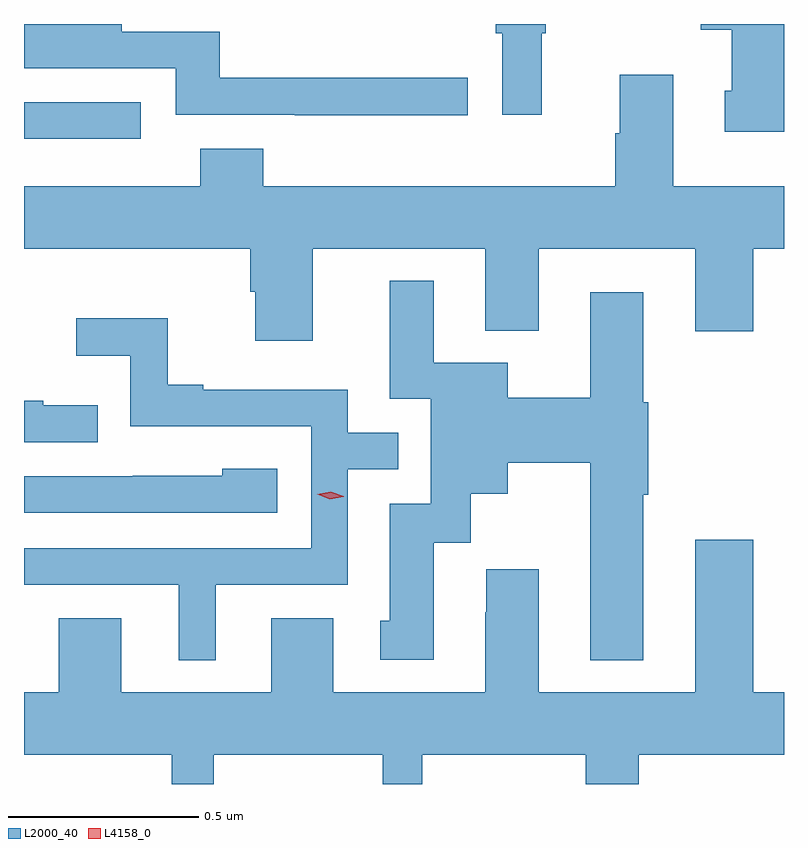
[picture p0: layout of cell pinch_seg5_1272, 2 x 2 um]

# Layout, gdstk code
import gdstk
lib = gdstk.Library(unit=1e-6, precision=1e-09)
def R(c, l, rs):  # rectangles x0, y0, x1, y1
    for r in rs: c.add(gdstk.rectangle(r[:2], r[2:], *l))
def P(c, l, *ps):  # polygons
    for p in ps: c.add(gdstk.Polygon(p, *l))
L2000_40 = (2000, 40)
L4158_0 = (4158, 0)

pinch_seg5_1272 = lib.new_cell('pinch_seg5_1272')
R(pinch_seg5_1272, L2000_40, [(447.279,905.001,447.586,905.097)])
P(pinch_seg5_1272, L2000_40, [(448.642,905.279),(448.652,905.279),(448.652,905.303),(448.521,905.303),(448.521,905.279),(448.538,905.279),(448.538,905.064),(448.642,905.064)],
  [(449.279,905.303),(449.06,905.303),(449.06,905.288),(449.141,905.288),(449.141,905.127),(449.123,905.127),(449.123,905.019),(449.279,905.019)],
  [(448.447,905.162),(447.794,905.162),(447.794,905.283),(447.536,905.283),(447.536,905.303),(447.279,905.303),(447.279,905.187),(447.678,905.187),(447.678,905.064),(447.991,905.064),(447.991,905.063),(448.447,905.063)],
  [(448.039,904.712),(448.493,904.712),(448.493,904.496),(448.633,904.496),(448.633,904.712),(449.045,904.712),(449.045,904.494),(449.198,904.494),(449.198,904.712),(449.279,904.712),(449.279,904.876),(448.987,904.876),(448.987,905.17),(448.847,905.17),(448.847,905.015),(448.835,905.015),(448.835,904.876),(447.908,904.876),(447.908,904.975),(447.743,904.975),(447.743,904.876),(447.279,904.876),(447.279,904.712),(447.875,904.712),(447.875,904.599),(447.887,904.599),(447.887,904.47),(448.039,904.47)],
  [(448.909,904.064),(448.922,904.064),(448.922,904.308),(448.909,904.308),(448.909,904.597),(448.769,904.597),(448.769,904.32),(448.552,904.32),(448.552,904.411),(448.357,904.411),(448.357,904.627),(448.241,904.627),(448.241,904.317),(448.35,904.317),(448.35,904.041),(448.241,904.041),(448.241,903.732),(448.217,903.732),(448.217,903.63),(448.357,903.63),(448.357,903.938),(448.455,903.938),(448.455,904.067),(448.552,904.067),(448.552,904.148),(448.769,904.148),(448.769,903.629),(448.909,903.629)],
  [(447.784,903.828),(448.131,903.828),(448.131,904.131),(448.264,904.131),(448.264,904.227),(448.131,904.227),(448.131,904.341),(447.751,904.341),(447.751,904.354),(447.657,904.354),(447.657,904.529),(447.417,904.529),(447.417,904.43),(447.558,904.43),(447.558,904.245),(448.035,904.245),(448.035,903.924),(447.279,903.924),(447.279,903.828),(447.686,903.828),(447.686,903.629),(447.784,903.629)],
  [(447.473,904.3),(447.329,904.3),(447.329,904.312),(447.279,904.312),(447.279,904.203),(447.473,904.203)],
  [(447.946,904.132),(447.801,904.132),(447.801,904.114),(447.565,904.114),(447.565,904.113),(447.279,904.113),(447.279,904.017),(447.946,904.017)],
  [(447.778,903.38),(448.223,903.38),(448.223,903.303),(448.327,903.303),(448.327,903.38),(448.757,903.38),(448.757,903.303),(448.897,903.303),(448.897,903.38),(449.279,903.38),(449.279,903.544),(449.198,903.544),(449.198,903.946),(449.045,903.946),(449.045,903.544),(448.633,903.544),(448.633,903.868),(448.496,903.868),(448.496,903.755),(448.493,903.755),(448.493,903.544),(448.093,903.544),(448.093,903.739),(447.929,903.739),(447.929,903.544),(447.535,903.544),(447.535,903.739),(447.371,903.739),(447.371,903.544),(447.279,903.544),(447.279,903.38),(447.668,903.38),(447.668,903.303),(447.778,903.303)])
P(pinch_seg5_1272, L4158_0, [(448.084,904.052),(448.051,904.065),(448.051,904.065),(448.051,904.065),(448.086,904.072),(448.12,904.06),(448.12,904.06),(448.12,904.059)])

lib.write_gds('pinch_seg5_1272.gds')
